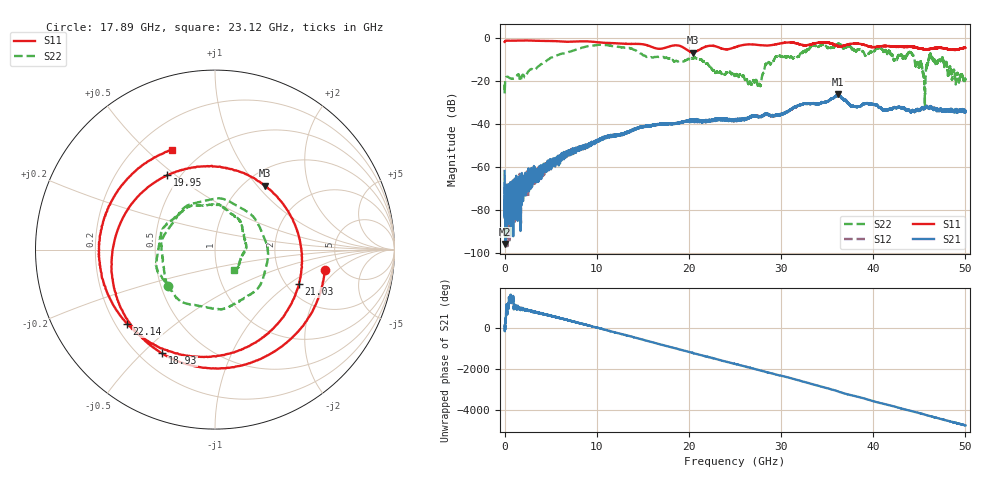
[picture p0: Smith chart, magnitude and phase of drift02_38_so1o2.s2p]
!Created with skrf (http://scikit-rf.org).
# Hz S RI R 50.0
!freq ReS11 ImS11 ReS21 ImS21 ReS12 ImS12 ReS22 ImS22
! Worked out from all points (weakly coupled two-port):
!   10001 points, 300 kHz to 50 GHz, reference 50 ohm
!   highest |S21| = -26.28 dB at 36.14 GHz (marker M1); lowest = -95.8 dB at 80.3 MHz (marker M2)
!   lowest |S11| = -6.9 dB at 20.45 GHz (marker M3), VSWR 2.64, Z = 61.2 + j54.7 ohm
!   |S11| at or under -10 dB: nowhere
!   |S22| runs from -32.1 to -2.6 dB; largest |S21 - S12| = 0.005
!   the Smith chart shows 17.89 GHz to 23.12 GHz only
!   S11 on the Smith chart (normalised r, x): 17.89 GHz: 3.75, -1.37; 18.93 GHz: 0.29, -0.57; 19.95 GHz: 0.43, +0.47; 21.03 GHz: 2.32, -1.20; 22.14 GHz: 0.25, -0.35; 23.12 GHz: 0.34, +0.60
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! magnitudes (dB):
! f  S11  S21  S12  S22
! 300 kHz  -2.0  -61.9  -67.2  -21.8
! 80.3 MHz  -1.5  -95.8  -69.1  -19.5
! 310.3 MHz  -1.4  -74.1  -74.5  -18.2
! 8.335 GHz  -1.7  -51.8  -51.0  -4.7
! 16.67 GHz  -5.2  -40.2  -40.3  -9.0
! 17.89 GHz  -4.1  -39.9  -40.0  -9.6
! 18.93 GHz  -3.8  -39.7  -39.7  -10.8
! 19.95 GHz  -6.2  -38.6  -38.6  -9.8
! 20.45 GHz  -6.9  -38.4  -38.4  -9.8
! 21.03 GHz  -5.9  -38.6  -38.5  -9.5
! 22.14 GHz  -3.9  -38.8  -38.7  -12.8
! 23.12 GHz  -4.4  -38.3  -38.0  -16.2
! 25 GHz  -4.5  -38.0  -38.3  -17.8
! 27.62 GHz  -3.5  -36.6  -36.7  -21.6
! 29.54 GHz  -3.0  -36.1  -36.2  -8.8
! 33.34 GHz  -3.0  -30.6  -30.5  -3.8
! 36.14 GHz  -3.9  -26.3  -27.0  -3.0
! 41.67 GHz  -3.9  -33.3  -33.3  -6.2
! 44.13 GHz  -4.2  -34.6  -34.6  -7.0
! 45.5 GHz  -5.4  -33.1  -33.0  -17.9
! 46.27 GHz  -5.2  -32.6  -32.4  -9.1
! 50 GHz  -4.7  -34.4  -34.5  -19.8
